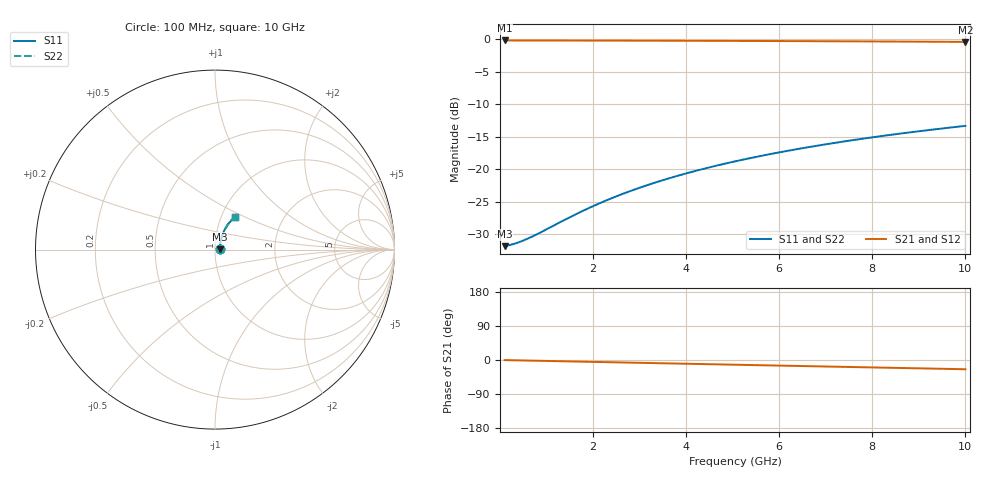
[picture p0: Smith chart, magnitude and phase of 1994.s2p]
# Hz S RI R 50.00
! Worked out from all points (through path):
!   100 points, 100 MHz to 10 GHz, reference 50 ohm
!   highest |S21| = -0.22 dB at 100 MHz (marker M1); lowest = -0.4 dB at 10 GHz (marker M2)
!   group delay of S21, straight-line fit = 6.78 ps
!   lowest |S11| = -31.8 dB at 100 MHz (marker M3), VSWR 1.05, Z = 52.6 + j0.224 ohm
!   |S11| at or under -10 dB: start of sweep to end of sweep
!   |S22| runs from -31.8 to -13.4 dB; largest |S21 - S12| = 0
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1e8  0.0255 0.00213  0.9745 -0.00421  0.9745 -0.00421  0.0255 0.00213
2e8  0.0257 0.00426  0.9743 -0.00842  0.9743 -0.00842  0.0257 0.00426
3e8  0.0259 0.00638  0.9741 -0.0126  0.9741 -0.0126  0.0259 0.00638
4e8  0.026 0.00851  0.9739 -0.0168  0.9739 -0.0168  0.026 0.00851
6e8  0.0264 0.0127  0.9735 -0.0252  0.9735 -0.0252  0.0264 0.0127
8e8  0.0268 0.017  0.9731 -0.0337  0.9731 -0.0337  0.0268 0.017
1.4e9  0.0283 0.0296  0.9713 -0.0588  0.9713 -0.0588  0.0283 0.0296
1.8e9  0.0296 0.038  0.9697 -0.0755  0.9697 -0.0755  0.0296 0.038
2.2e9  0.0312 0.0464  0.9677 -0.0922  0.9677 -0.0922  0.0312 0.0464
2.6e9  0.033 0.0546  0.9654 -0.1088  0.9654 -0.1088  0.033 0.0546
3e9  0.0352 0.0628  0.9628 -0.1253  0.9628 -0.1253  0.0352 0.0628
3.4e9  0.0376 0.0709  0.9598 -0.1417  0.9598 -0.1417  0.0376 0.0709
3.8e9  0.0403 0.0789  0.9565 -0.1581  0.9565 -0.1581  0.0403 0.0789
4.2e9  0.0432 0.0868  0.9528 -0.1743  0.9528 -0.1743  0.0432 0.0868
4.6e9  0.0464 0.0945  0.9488 -0.1904  0.9488 -0.1904  0.0464 0.0945
5.1e9  0.0508 0.1041  0.9434 -0.2103  0.9434 -0.2103  0.0508 0.1041
5.9e9  0.0586 0.1188  0.9336 -0.2418  0.9336 -0.2418  0.0586 0.1188
6.7e9  0.0673 0.133  0.9226 -0.2726  0.9226 -0.2726  0.0673 0.133
7.5e9  0.077 0.1465  0.9104 -0.3028  0.9104 -0.3028  0.077 0.1465
8.4e9  0.0888 0.1607  0.8954 -0.3358  0.8954 -0.3358  0.0888 0.1607
9.2e9  0.1002 0.1725  0.8809 -0.3643  0.8809 -0.3643  0.1002 0.1725
1e10  0.1122 0.1834  0.8654 -0.3919  0.8654 -0.3919  0.1122 0.1834
